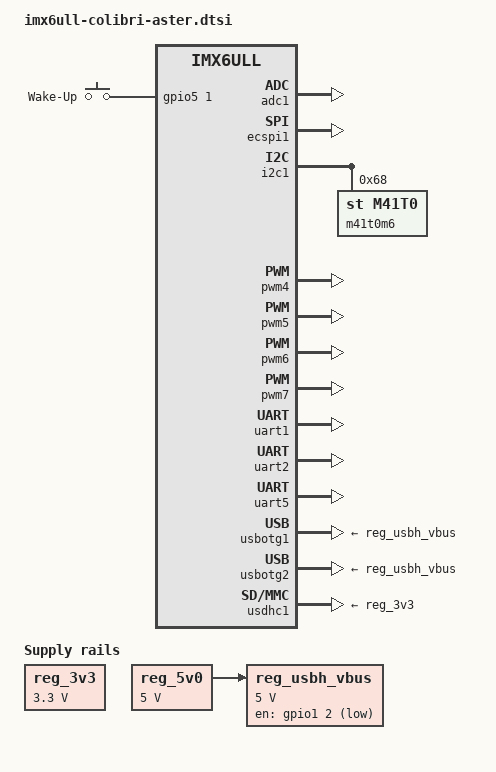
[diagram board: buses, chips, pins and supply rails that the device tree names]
// SPDX-License-Identifier: GPL-2.0-or-later OR MIT
/*
 * Copyright 2017-2022 Toradex
 */

/ {
	chosen {
		stdout-path = "serial0:115200n8";
	};

	gpio-keys {
		compatible = "gpio-keys";
		pinctrl-names = "default";
		pinctrl-0 = <&pinctrl_snvs_gpiokeys>;

		key-power {
			label = "Wake-Up";
			gpios = <&gpio5 1 GPIO_ACTIVE_HIGH>;
			linux,code = <KEY_WAKEUP>;
			debounce-interval = <10>;
			wakeup-source;
		};
	};

	reg_3v3: regulator-3v3 {
		compatible = "regulator-fixed";
		regulator-name = "3.3V";
		regulator-min-microvolt = <3300000>;
		regulator-max-microvolt = <3300000>;
	};

	reg_5v0: regulator-5v0 {
		compatible = "regulator-fixed";
		regulator-name = "5V";
		regulator-min-microvolt = <5000000>;
		regulator-max-microvolt = <5000000>;
	};

	reg_usbh_vbus: regulator-usbh-vbus {
		compatible = "regulator-fixed";
		pinctrl-names = "default";
		pinctrl-0 = <&pinctrl_usbh_reg>;
		regulator-name = "VCC_USB[1-4]";
		regulator-min-microvolt = <5000000>;
		regulator-max-microvolt = <5000000>;
		gpio = <&gpio1 2 GPIO_ACTIVE_LOW>;
		vin-supply = <&reg_5v0>;
	};
};

&adc1 {
	status = "okay";
};

&ecspi1 {
	status = "okay";

	num-cs = <2>;
	cs-gpios = <
		&gpio3 26 GPIO_ACTIVE_HIGH /* SODIMM 86 LCD_DATA21 */
		&gpio4 28 GPIO_ACTIVE_HIGH /* SODIMM 65 CSI_DATA07 */
	>;
};

/*
 * Following SODIMM Pins should not be accessed as GPIO on Aster board:
 * 134 - AIN5_SCL (no connection)
 * 127 - Voltage Level Translator OE# signal (IC11 and IC12)
 *
 * To configure GPIO to LED5, please disable FEC2 and uncomment the following:
 *	&iomuxc {
 *		pinctrl-names = "default";
 *		pinctrl-0 = <
 *			&pinctrl_gpio1
 *			&pinctrl_gpio2
 *			&pinctrl_gpio3
 *			&pinctrl_gpio4
 *			&pinctrl_gpio6 - for non-WiFi modules only
 *			&pinctrl_gpio7
 *			&pinctrl_gpio_aster
 *		>;
 *
 *		pinctrl_gpio_aster: gpio-aster {
 *			fsl,pins = <
 *				MX6UL_PAD_GPIO1_IO07__GPIO1_IO07    0x1b0b0
 *			>;
 *		};
 *  };
 */

&i2c1 {
	status = "okay";

	m41t0m6: rtc@68 {
		compatible = "st,m41t0";
		reg = <0x68>;
	};
};

/* PWM <A> */
&pwm4 {
	status = "okay";
};

/* PWM <B> */
&pwm5 {
	status = "okay";
};

/* PWM <C> */
&pwm6 {
	status = "okay";
};

/* PWM <D> */
&pwm7 {
	status = "okay";
};

&uart1 {
	status = "okay";
};

&uart2 {
	status = "okay";
};

&uart5 {
	status = "okay";
};

&usbotg1 {
	disable-over-current;
	vbus-supply = <&reg_usbh_vbus>;
	status = "okay";
};

&usbotg2 {
	disable-over-current;
	vbus-supply = <&reg_usbh_vbus>;
	status = "okay";
};

&usdhc1 {
	vmmc-supply = <&reg_3v3>;
	status = "okay";
};
